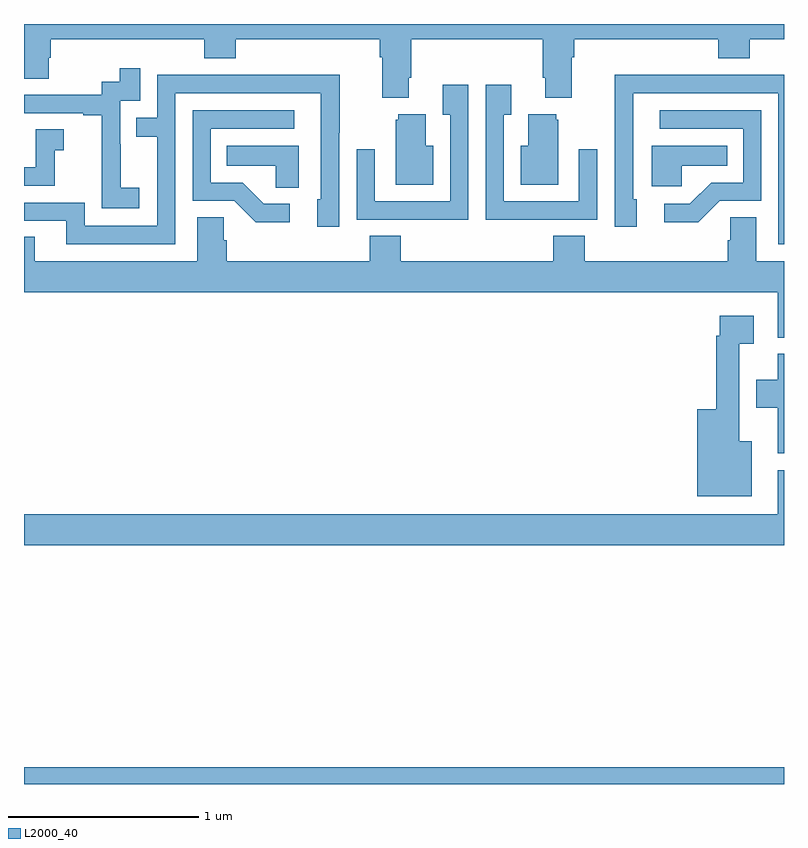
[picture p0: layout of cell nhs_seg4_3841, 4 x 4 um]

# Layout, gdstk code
import gdstk
lib = gdstk.Library(unit=1e-6, precision=1e-09)
def R(c, l, rs):  # rectangles x0, y0, x1, y1
    for r in rs: c.add(gdstk.rectangle(r[:2], r[2:], *l))
def P(c, l, *ps):  # polygons
    for p in ps: c.add(gdstk.Polygon(p, *l))
L2000_40 = (2000, 40)

nhs_seg4_3841 = lib.new_cell('nhs_seg4_3841')
R(nhs_seg4_3841, L2000_40, [(313,792.9,317,792.988)])
P(nhs_seg4_3841, L2000_40, [(313,796.612),(313.129,796.612),(313.129,796.722),(313.142,796.722),(313.142,796.82),(313.949,796.82),(313.949,796.721),(314.114,796.721),(314.114,796.82),(314.873,796.82),(314.873,796.724),(314.885,796.724),(314.885,796.511),(315.025,796.511),(315.025,796.618),(315.038,796.618),(315.038,796.82),(315.731,796.82),(315.731,796.618),(315.743,796.618),(315.743,796.511),(315.883,796.511),(315.883,796.724),(315.896,796.724),(315.896,796.82),(316.655,796.82),(316.655,796.721),(316.82,796.721),(316.82,796.82),(317,796.82),(317,796.9),(313,796.9)],
  [(313.606,796.039),(313.508,796.039),(313.508,796.268),(313.506,796.268),(313.506,796.497),(313.611,796.497),(313.611,796.666),(313.503,796.666),(313.503,796.596),(313.41,796.596),(313.41,796.527),(313,796.527),(313,796.431),(313.313,796.431),(313.313,796.419),(313.409,796.419),(313.409,796.135),(313.408,796.135),(313.408,795.929),(313.606,795.929)],
  [(313.797,796.536),(314.562,796.536),(314.562,795.978),(314.543,795.978),(314.543,795.834),(314.658,795.834),(314.658,796.327),(314.661,796.327),(314.661,796.634),(314.197,796.634),(314.197,796.632),(313.701,796.632),(313.701,796.407),(313.591,796.407),(313.591,796.306),(313.701,796.306),(313.701,795.837),(313.32,795.837),(313.32,795.96),(313,795.96),(313,795.864),(313.223,795.864),(313.223,795.741),(313.797,795.741)],
  [(317,796.632),(316.571,796.632),(316.571,796.634),(316.108,796.634),(316.108,796.327),(316.11,796.327),(316.11,795.834),(316.225,795.834),(316.225,795.978),(316.206,795.978),(316.206,796.285),(316.207,796.285),(316.207,796.536),(316.971,796.536),(316.971,795.741),(317,795.741)],
  [(315.701,795.87),(316.017,795.87),(316.017,796.24),(315.921,796.24),(315.921,795.966),(315.525,795.966),(315.525,796.423),(315.565,796.423),(315.565,796.579),(315.429,796.579),(315.429,795.869),(315.701,795.869)],
  [(315.339,796.579),(315.203,796.579),(315.203,796.423),(315.243,796.423),(315.243,795.966),(314.847,795.966),(314.847,796.24),(314.751,796.24),(314.751,795.87),(315.067,795.87),(315.067,795.869),(315.339,795.869)],
  [(316.662,795.969),(316.881,795.969),(316.881,796.446),(316.347,796.446),(316.347,796.35),(316.785,796.35),(316.785,796.065),(316.616,796.065),(316.505,795.954),(316.371,795.954),(316.371,795.857),(316.549,795.857)],
  [(314.398,795.954),(314.263,795.954),(314.152,796.065),(313.983,796.065),(313.983,796.35),(314.422,796.35),(314.422,796.446),(313.887,796.446),(313.887,795.969),(314.106,795.969),(314.219,795.857),(314.398,795.857)],
  [(315.811,796.395),(315.8,796.395),(315.8,796.426),(315.653,796.426),(315.653,796.258),(315.614,796.258),(315.614,796.055),(315.811,796.055)],
  [(315.154,796.258),(315.115,796.258),(315.115,796.426),(314.969,796.426),(314.969,796.395),(314.957,796.395),(314.957,796.055),(315.154,796.055)],
  [(313.161,796.235),(313.21,796.235),(313.21,796.345),(313.062,796.345),(313.062,796.146),(313,796.146),(313,796.05),(313.161,796.05)],
  [(314.446,796.258),(314.068,796.258),(314.068,796.154),(314.325,796.154),(314.325,796.039),(314.446,796.039)],
  [(316.461,796.154),(316.7,796.154),(316.7,796.258),(316.304,796.258),(316.304,796.046),(316.461,796.046)],
  [(317,795.652),(316.855,795.652),(316.855,795.884),(316.716,795.884),(316.716,795.761),(316.703,795.761),(316.703,795.652),(315.95,795.652),(315.95,795.785),(315.785,795.785),(315.785,795.652),(314.984,795.652),(314.984,795.785),(314.819,795.785),(314.819,795.652),(314.066,795.652),(314.066,795.761),(314.052,795.761),(314.052,795.884),(313.913,795.884),(313.913,795.652),(313.057,795.652),(313.057,795.779),(313,795.779),(313,795.488),(316.967,795.488),(316.967,795.25),(317,795.25)],
  [(316.831,794.704),(316.765,794.704),(316.765,795.218),(316.84,795.218),(316.84,795.364),(316.661,795.364),(316.661,795.26),(316.644,795.26),(316.644,794.872),(316.544,794.872),(316.544,794.414),(316.831,794.414)],
  [(317,795.165),(316.967,795.165),(316.967,795.028),(316.853,795.028),(316.853,794.881),(316.967,794.881),(316.967,794.64),(317,794.64)],
  [(317,794.551),(316.967,794.551),(316.967,794.32),(313,794.32),(313,794.156),(317,794.156)])

lib.write_gds('nhs_seg4_3841.gds')
